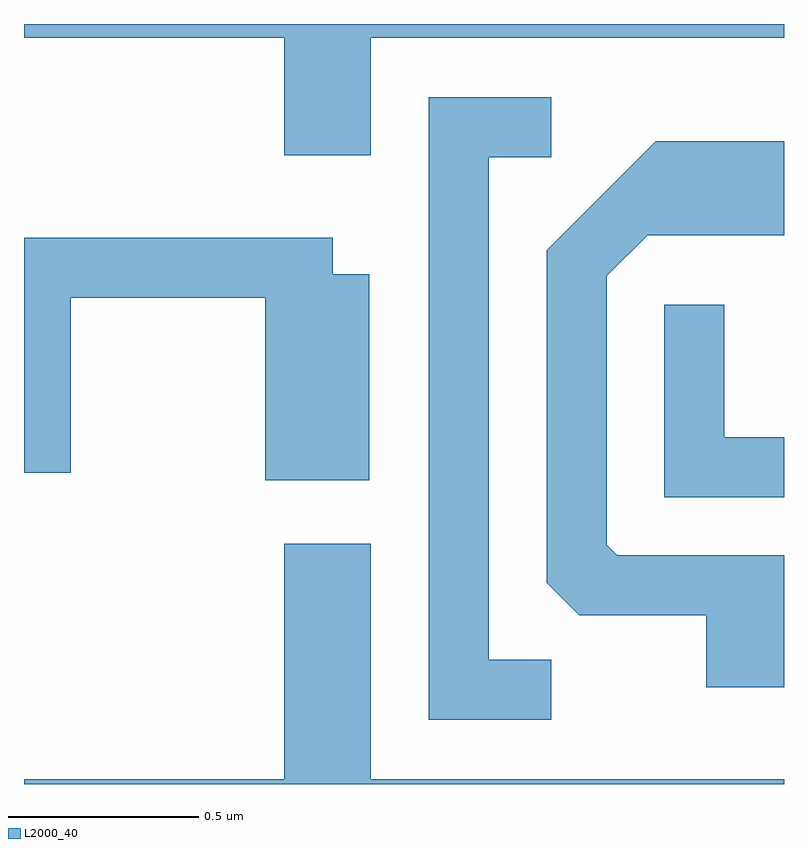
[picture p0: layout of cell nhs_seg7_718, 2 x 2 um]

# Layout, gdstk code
import gdstk
lib = gdstk.Library(unit=1e-6, precision=1e-09)
def P(c, l, *ps):  # polygons
    for p in ps: c.add(gdstk.Polygon(p, *l))
L2000_40 = (2000, 40)

nhs_seg7_718 = lib.new_cell('nhs_seg7_718')
P(nhs_seg7_718, L2000_40, [(191.524,1703.216),(192.611,1703.216),(192.611,1703.252),(190.611,1703.252),(190.611,1703.216),(191.296,1703.216),(191.296,1702.906),(191.524,1702.906)],
  [(191.998,1701.579),(191.834,1701.579),(191.834,1702.901),(191.998,1702.901),(191.998,1703.059),(191.676,1703.059),(191.676,1701.421),(191.998,1701.421)],
  [(192.611,1701.854),(192.172,1701.854),(192.144,1701.882),(192.144,1702.589),(192.252,1702.696),(192.611,1702.696),(192.611,1702.944),(192.274,1702.944),(191.986,1702.657),(191.986,1701.782),(192.072,1701.696),(192.406,1701.696),(192.406,1701.506),(192.611,1701.506)],
  [(191.519,1702.594),(191.424,1702.594),(191.424,1702.689),(190.611,1702.689),(190.611,1702.071),(190.734,1702.071),(190.734,1702.531),(191.246,1702.531),(191.246,1702.051),(191.519,1702.051)],
  [(192.611,1702.164),(192.454,1702.164),(192.454,1702.513),(192.296,1702.513),(192.296,1702.006),(192.611,1702.006)],
  [(192.611,1701.264),(191.524,1701.264),(191.524,1701.884),(191.296,1701.884),(191.296,1701.264),(190.611,1701.264),(190.611,1701.252),(192.611,1701.252)])

lib.write_gds('nhs_seg7_718.gds')
